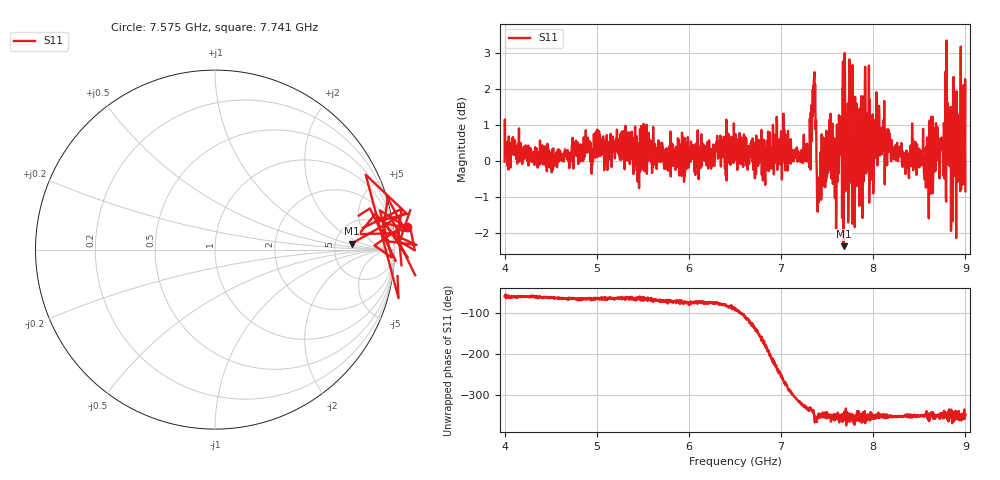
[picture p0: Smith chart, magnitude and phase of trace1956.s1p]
! Created with skrf 1.8.0 (http://scikit-rf.org).
# Hz S RI R 50.0
!freq ReS11 ImS11
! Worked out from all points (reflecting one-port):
!   1601 points, 4 GHz to 9 GHz, reference 50 ohm
!   lowest |S11| = -2.4 dB at 7.678 GHz (marker M1), VSWR 7.43, Z = 362 + j58.7 ohm
!   phase of S11 starts at -59 deg and turns -289 deg over the sweep
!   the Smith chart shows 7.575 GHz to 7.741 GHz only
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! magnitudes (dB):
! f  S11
! 4 GHz  0.0
! 4.625 GHz  0.0
! 5.25 GHz  0.0
! 5.875 GHz  -0.2
! 6.5 GHz  0.3
! 6.816 GHz  0.6
! 7.038 GHz  0.5
! 7.125 GHz  0.3
! 7.294 GHz  0.0
! 7.356 GHz  2.2
! 7.412 GHz  -1.0
! 7.516 GHz  0.1
! 7.588 GHz  0.1
! 7.65 GHz  0.8
! 7.678 GHz  -2.4
! 7.75 GHz  -0.3
! 7.875 GHz  -0.6
! 7.928 GHz  0.6
! 7.981 GHz  -0.5
! 8.097 GHz  0.3
! 8.375 GHz  -0.1
! 8.522 GHz  -0.1
! 8.581 GHz  -0.2
! 8.769 GHz  1.0
! 8.816 GHz  0.8
! 8.844 GHz  -1.9
! 8.972 GHz  0.8
! 9 GHz  -0.8
